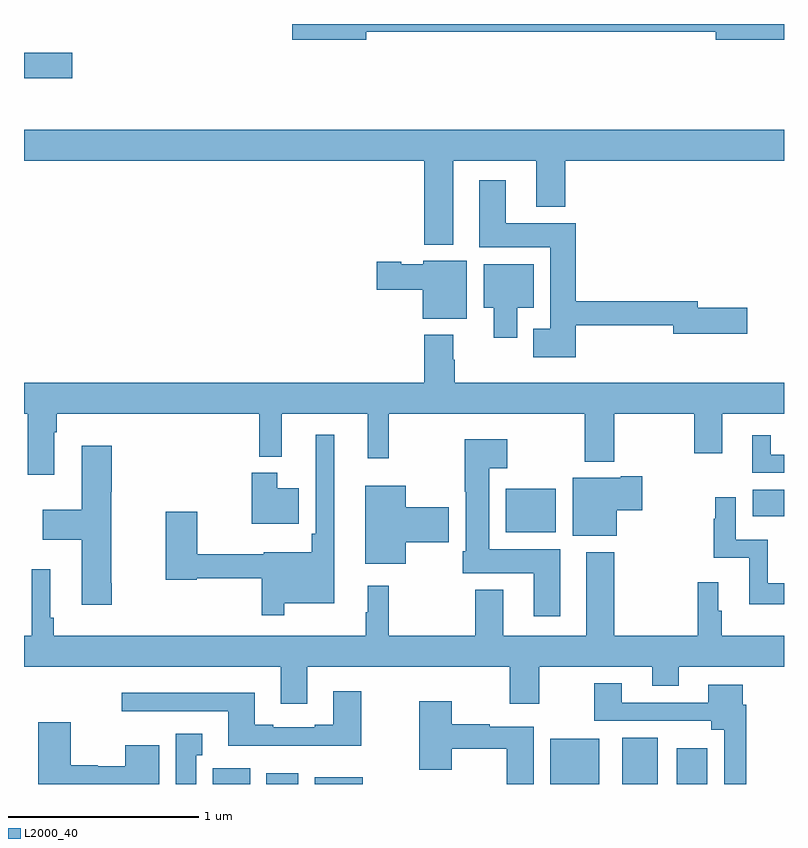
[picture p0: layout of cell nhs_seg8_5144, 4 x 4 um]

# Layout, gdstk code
import gdstk
lib = gdstk.Library(unit=1e-6, precision=1e-09)
def R(c, l, rs):  # rectangles x0, y0, x1, y1
    for r in rs: c.add(gdstk.rectangle(r[:2], r[2:], *l))
def P(c, l, *ps):  # polygons
    for p in ps: c.add(gdstk.Polygon(p, *l))
L2000_40 = (2000, 40)

nhs_seg8_5144 = lib.new_cell('nhs_seg8_5144')
R(nhs_seg8_5144, L2000_40, [(421.994,1099.9,422.191,1099.984), (422.276,1099.9,422.443,1099.957), (422.531,1099.9,422.782,1099.936), (423.77,1099.9,424.027,1100.137), (424.148,1099.9,424.336,1100.143), (424.436,1099.9,424.597,1100.089), (423.536,1101.224,423.799,1101.454), (424.836,1101.308,425,1101.448), (421,1103.615,421.255,1103.75)])
P(nhs_seg8_5144, L2000_40, [(422.8,1103.86),(424.64,1103.86),(424.64,1103.818),(425,1103.818),(425,1103.9),(422.412,1103.9),(422.412,1103.818),(422.8,1103.818)],
  [(423.259,1103.18),(423.695,1103.18),(423.695,1102.937),(423.848,1102.937),(423.848,1103.18),(425,1103.18),(425,1103.344),(421,1103.344),(421,1103.18),(423.107,1103.18),(423.107,1102.739),(423.259,1102.739)],
  [(423.905,1102.314),(424.418,1102.314),(424.418,1102.271),(424.807,1102.271),(424.807,1102.406),(424.546,1102.406),(424.546,1102.442),(423.905,1102.442),(423.905,1102.852),(423.535,1102.852),(423.535,1103.077),(423.395,1103.077),(423.395,1102.724),(423.77,1102.724),(423.77,1102.297),(423.68,1102.297),(423.68,1102.145),(423.905,1102.145)],
  [(423.331,1102.654),(423.102,1102.654),(423.102,1102.636),(422.985,1102.636),(422.985,1102.649),(422.856,1102.649),(422.856,1102.502),(423.098,1102.502),(423.098,1102.349),(423.331,1102.349)],
  [(423.595,1102.406),(423.682,1102.406),(423.682,1102.636),(423.419,1102.636),(423.419,1102.406),(423.473,1102.406),(423.473,1102.248),(423.595,1102.248)],
  [(421.159,1101.752),(421.172,1101.752),(421.172,1101.848),(422.239,1101.848),(422.239,1101.623),(422.357,1101.623),(422.357,1101.848),(422.81,1101.848),(422.81,1101.615),(422.92,1101.615),(422.92,1101.848),(423.952,1101.848),(423.952,1101.596),(424.107,1101.596),(424.107,1101.848),(424.528,1101.848),(424.528,1101.642),(424.675,1101.642),(424.675,1101.848),(425,1101.848),(425,1102.012),(423.267,1102.012),(423.267,1102.133),(423.259,1102.133),(423.259,1102.264),(423.107,1102.264),(423.107,1102.012),(421,1102.012),(421,1101.848),(421.019,1101.848),(421.019,1101.528),(421.159,1101.528)],
  [(422.371,1100.852),(422.632,1100.852),(422.632,1101.739),(422.535,1101.739),(422.535,1101.217),(422.515,1101.217),(422.515,1101.121),(422.261,1101.121),(422.261,1101.11),(421.912,1101.11),(421.912,1101.334),(421.747,1101.334),(421.747,1100.974),(421.908,1100.974),(421.908,1100.982),(422.25,1100.982),(422.25,1100.787),(422.371,1100.787)],
  [(425,1101.633),(424.93,1101.633),(424.93,1101.736),(424.832,1101.736),(424.832,1101.537),(425,1101.537)],
  [(423.823,1101.136),(423.448,1101.136),(423.448,1101.563),(423.544,1101.563),(423.544,1101.715),(423.319,1101.715),(423.319,1101.439),(423.326,1101.439),(423.326,1101.126),(423.308,1101.126),(423.308,1101.008),(423.683,1101.008),(423.683,1100.784),(423.823,1100.784)],
  [(421.463,1100.956),(421.458,1100.956),(421.458,1101.439),(421.463,1101.439),(421.463,1101.679),(421.304,1101.679),(421.304,1101.343),(421.098,1101.343),(421.098,1101.185),(421.304,1101.185),(421.304,1100.844),(421.463,1100.844)],
  [(422.446,1101.457),(422.332,1101.457),(422.332,1101.538),(422.198,1101.538),(422.198,1101.269),(422.446,1101.269)],
  [(424.12,1101.341),(424.255,1101.341),(424.255,1101.519),(424.142,1101.519),(424.142,1101.511),(423.887,1101.511),(423.887,1101.206),(424.12,1101.206)],
  [(423.01,1101.173),(423.235,1101.173),(423.235,1101.356),(423.01,1101.356),(423.01,1101.469),(422.795,1101.469),(422.795,1101.059),(423.01,1101.059)],
  [(425,1100.956),(424.915,1100.956),(424.915,1101.186),(424.746,1101.186),(424.746,1101.409),(424.638,1101.409),(424.638,1101.296),(424.63,1101.296),(424.63,1101.09),(424.817,1101.09),(424.817,1100.846),(425,1100.846)],
  [(422.491,1100.516),(423.556,1100.516),(423.556,1100.322),(423.711,1100.322),(423.711,1100.516),(424.307,1100.516),(424.307,1100.417),(424.447,1100.417),(424.447,1100.516),(425,1100.516),(425,1100.68),(424.673,1100.68),(424.673,1100.813),(424.654,1100.813),(424.654,1100.962),(424.545,1100.962),(424.545,1100.68),(424.107,1100.68),(424.107,1101.121),(423.959,1101.121),(423.959,1100.68),(423.523,1100.68),(423.523,1100.923),(423.376,1100.923),(423.376,1100.68),(422.92,1100.68),(422.92,1100.944),(422.81,1100.944),(422.81,1100.804),(422.799,1100.804),(422.799,1100.68),(421.157,1100.68),(421.157,1100.776),(421.138,1100.776),(421.138,1101.031),(421.041,1101.031),(421.041,1100.68),(421,1100.68),(421,1100.516),(422.351,1100.516),(422.351,1100.322),(422.491,1100.322)],
  [(424.802,1100.318),(424.783,1100.318),(424.783,1100.422),(424.601,1100.422),(424.601,1100.328),(424.147,1100.328),(424.147,1100.431),(424,1100.431),(424,1100.232),(424.616,1100.232),(424.616,1100.186),(424.686,1100.186),(424.686,1099.9),(424.802,1099.9)],
  [(422.775,1100.389),(422.627,1100.389),(422.627,1100.212),(422.531,1100.212),(422.531,1100.199),(422.311,1100.199),(422.311,1100.212),(422.215,1100.212),(422.215,1100.38),(421.515,1100.38),(421.515,1100.283),(422.075,1100.283),(422.075,1100.102),(422.775,1100.102)],
  [(423.682,1100.202),(423.452,1100.202),(423.452,1100.215),(423.252,1100.215),(423.252,1100.335),(423.079,1100.335),(423.079,1099.974),(423.252,1099.974),(423.252,1100.086),(423.541,1100.086),(423.541,1099.9),(423.682,1099.9)],
  [(421.711,1100.104),(421.532,1100.104),(421.532,1099.993),(421.389,1099.993),(421.389,1100),(421.246,1100),(421.246,1100.224),(421.076,1100.224),(421.076,1099.9),(421.711,1099.9)],
  [(421.906,1100.051),(421.939,1100.051),(421.939,1100.164),(421.799,1100.164),(421.799,1099.9),(421.906,1099.9)])

lib.write_gds('nhs_seg8_5144.gds')
